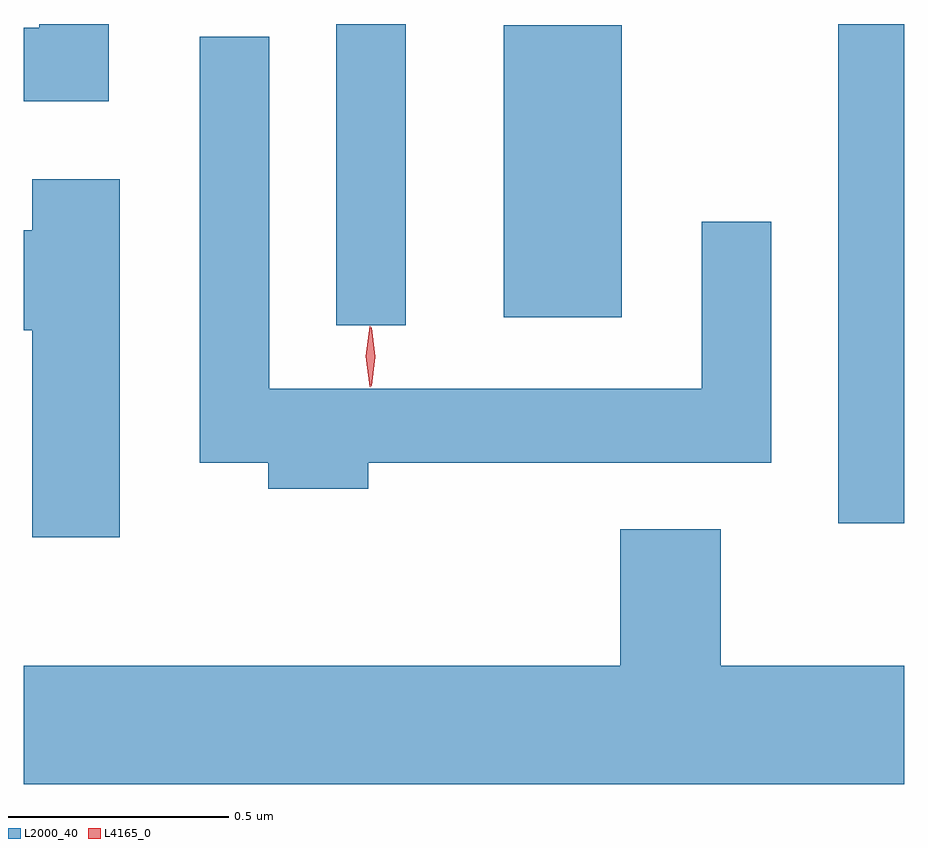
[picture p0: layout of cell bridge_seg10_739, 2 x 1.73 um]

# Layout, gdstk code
import gdstk
lib = gdstk.Library(unit=1e-6, precision=1e-09)
def R(c, l, rs):  # rectangles x0, y0, x1, y1
    for r in rs: c.add(gdstk.rectangle(r[:2], r[2:], *l))
def P(c, l, *ps):  # polygons
    for p in ps: c.add(gdstk.Polygon(p, *l))
L2000_40 = (2000, 40)
L4165_0 = (4165, 0)

bridge_seg10_739 = lib.new_cell('bridge_seg10_739')
R(bridge_seg10_739, L2000_40, [(1026.686,2103.408,1026.836,2104.542), (1025.546,2103.858,1025.704,2104.542), (1025.926,2103.876,1026.194,2104.539)])
P(bridge_seg10_739, L2000_40, [(1025.029,2104.542),(1024.871,2104.542),(1024.871,2104.534),(1024.836,2104.534),(1024.836,2104.366),(1025.029,2104.366)],
  [(1025.619,2103.546),(1026.534,2103.546),(1026.534,2104.093),(1026.376,2104.093),(1026.376,2103.714),(1025.394,2103.714),(1025.394,2104.513),(1025.236,2104.513),(1025.236,2103.546),(1025.391,2103.546),(1025.391,2103.486),(1025.619,2103.486)],
  [(1025.054,2104.189),(1024.856,2104.189),(1024.856,2104.074),(1024.836,2104.074),(1024.836,2103.846),(1024.856,2103.846),(1024.856,2103.376),(1025.054,2103.376)],
  [(1026.836,2103.084),(1026.419,2103.084),(1026.419,2103.394),(1026.191,2103.394),(1026.191,2103.084),(1024.836,2103.084),(1024.836,2102.816),(1026.836,2102.816)])
P(bridge_seg10_739, L4165_0, [(1025.625,2103.719),(1025.625,2103.72),(1025.615,2103.786),(1025.625,2103.852),(1025.625,2103.853),(1025.626,2103.852),(1025.635,2103.786),(1025.626,2103.72)],
  [(1025.623,2103.717),(1025.622,2103.718),(1025.613,2103.787),(1025.622,2103.856),(1025.623,2103.856),(1025.623,2103.856),(1025.633,2103.787),(1025.623,2103.718)])

lib.write_gds('bridge_seg10_739.gds')
